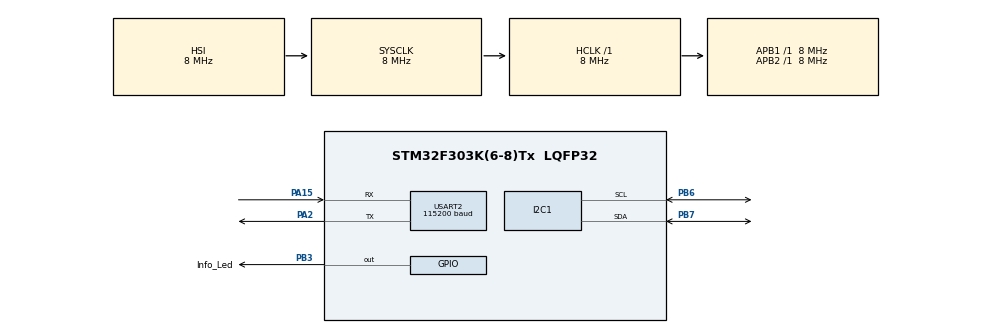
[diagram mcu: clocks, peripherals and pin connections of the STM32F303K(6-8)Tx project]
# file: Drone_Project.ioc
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FREERTOS.BinarySemaphores01=I2C_Semaphore,Dynamic,NULL,Available
FREERTOS.CountingSemaphores01=Samples_Took,1000,Dynamic,NULL,1000
FREERTOS.Tasks01=IMU_Task,0,128,StartIMUTask,Default,NULL,Dynamic,NULL,NULL;Telemetry_Task,0,600,StartTelemetry_Task,Default,NULL,Dynamic,NULL,NULL
FREERTOS.configTOTAL_HEAP_SIZE=5000
FREERTOS.configUSE_COUNTING_SEMAPHORES=1
FREERTOS.configUSE_NEWLIB_REENTRANT=1
I2C1.Timing=0x00201D2B
Mcu.Family=STM32F3
Mcu.Name=STM32F303K(6-8)Tx
Mcu.Package=LQFP32
NVIC.PriorityGroup=NVIC_PRIORITYGROUP_4
NVIC.TIM3_IRQn=true\:15\:0\:false\:false\:true\:false\:false\:true\:true
NVIC.TimeBase=TIM3_IRQn
NVIC.TimeBaseIP=TIM3
PA13.GPIO_Label=SWDIO
PA13.Mode=Serial_Wire
PA13.Signal=SYS_JTMS-SWDIO
PA14.GPIO_Label=SWCLK
PA14.Mode=Serial_Wire
PA14.Signal=SYS_JTCK-SWCLK
PA15.Mode=Asynchronous
PA15.Signal=USART2_RX
PA2.Mode=Asynchronous
PA2.Signal=USART2_TX
PB3.GPIO_Label=Info_Led
PB3.PinState=GPIO_PIN_RESET
PB3.Signal=GPIO_Output
PB6.Mode=I2C
PB6.Signal=I2C1_SCL
PB7.Mode=I2C
PB7.Signal=I2C1_SDA
PF0\ /\ OSC_IN.GPIO_Label=MCO
PF0\ /\ OSC_IN.Mode=HSE-External-Oscillator
PF0\ /\ OSC_IN.Signal=RCC_OSC_IN
PF1\ /\ OSC_OUT.Mode=HSE-External-Oscillator
PF1\ /\ OSC_OUT.Signal=RCC_OSC_OUT
ProjectManager.HeapSize=0x200
ProjectManager.StackSize=0x400
ProjectManager.TargetToolchain=STM32CubeIDE
RCC.AHBFreq_Value=8000000
RCC.APB1Freq_Value=8000000
RCC.APB2Freq_Value=8000000
RCC.CortexFreq_Value=8000000
RCC.HSE_VALUE=8000000
RCC.HSI_VALUE=8000000
RCC.SYSCLKFreq_VALUE=8000000
USART2.BaudRate=115200
USART2.VirtualMode-Asynchronous=VM_ASYNC
VP_FREERTOS_VS_CMSIS_V1.Mode=CMSIS_V1
VP_SYS_VS_tim3.Mode=TIM3
board=NUCLEO-F303K8

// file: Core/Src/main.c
/* USER CODE BEGIN Header */
/**
  ******************************************************************************
  * @file           : main.c
  * @brief          : Main program body
  ******************************************************************************
  * @attention
  *
  * Copyright (c) 2026 STMicroelectronics.
  * All rights reserved.
  *
  * This software is licensed under terms that can be found in the LICENSE file
  * in the root directory of this software component.
  * If no LICENSE file comes with this software, it is provided AS-IS.
  *
  ******************************************************************************
  */
/* USER CODE END Header */
#include "main.h"
#include "cmsis_os.h"

/* USER CODE BEGIN Includes */
#include <stdio.h>

#include "C:\Users\migue\OneDrive\Escritorio\Escritorio\Drone_Project\Drone_Project\Drivers\IMU\IMU.h"
#include "C:\Users\migue\OneDrive\Escritorio\Escritorio\Drone_Project\Drone_Project\Drivers\Attitude\Attitude.h"
/* USER CODE END Includes */

/* USER CODE BEGIN PD */
#define Samples_IMU 1000
/* USER CODE END PD */

I2C_HandleTypeDef hi2c1;

UART_HandleTypeDef huart2;

osThreadId IMU_TaskHandle;
osThreadId Telemetry_TaskHandle;
osSemaphoreId I2C_SemaphoreHandle;
osSemaphoreId Samples_TookHandle;
/* USER CODE BEGIN PV */
IMU_Data_t IMU_Data;
IMU_Error_t IMU_Error;
Attitude_Data_t Attitude_Data;
/* USER CODE END PV */

void SystemClock_Config(void);
static void MX_GPIO_Init(void);
static void MX_I2C1_Init(void);
static void MX_USART2_UART_Init(void);
void StartIMUTask(void const * argument);
void StartTelemetry_Task(void const * argument);

int main(void)
{

  /* MCU Configuration--------------------------------------------------------*/

  /* Reset of all peripherals, Initializes the Flash interface and the Systick. */
  HAL_Init();

  /* Configure the system clock */
  SystemClock_Config();

  /* Initialize all configured peripherals */
  MX_GPIO_Init();
  MX_I2C1_Init();
  MX_USART2_UART_Init();

  /* Create the semaphores(s) */
  /* definition and creation of I2C_Semaphore */
  osSemaphoreDef(I2C_Semaphore);
  I2C_SemaphoreHandle = osSemaphoreCreate(osSemaphore(I2C_Semaphore), 1);

  /* definition and creation of Samples_Took */
  osSemaphoreDef(Samples_Took);
  Samples_TookHandle = osSemaphoreCreate(osSemaphore(Samples_Took), 1000);

  /* Create the thread(s) */
  /* definition and creation of IMU_Task */
  osThreadDef(IMU_Task, StartIMUTask, osPriorityNormal, 0, 128);
  IMU_TaskHandle = osThreadCreate(osThread(IMU_Task), NULL);

  /* definition and creation of Telemetry_Task */
  osThreadDef(Telemetry_Task, StartTelemetry_Task, osPriorityNormal, 0, 600);
  Telemetry_TaskHandle = osThreadCreate(osThread(Telemetry_Task), NULL);

  /* Start scheduler */
  osKernelStart();

  /* We should never get here as control is now taken by the scheduler */

  /* Infinite loop */
  while (1)
  {

  }
}

void SystemClock_Config(void)
{
  RCC_OscInitTypeDef RCC_OscInitStruct = {0};
  RCC_ClkInitTypeDef RCC_ClkInitStruct = {0};
  RCC_PeriphCLKInitTypeDef PeriphClkInit = {0};

  /** Initializes the RCC Oscillators according to the specified parameters
  * in the RCC_OscInitTypeDef structure.
  */
  RCC_OscInitStruct.OscillatorType = RCC_OSCILLATORTYPE_HSI;
  RCC_OscInitStruct.HSIState = RCC_HSI_ON;
  RCC_OscInitStruct.HSICalibrationValue = RCC_HSICALIBRATION_DEFAULT;
  RCC_OscInitStruct.PLL.PLLState = RCC_PLL_NONE;
  if (HAL_RCC_OscConfig(&RCC_OscInitStruct) != HAL_OK)
  {
    Error_Handler();
  }

  /** Initializes the CPU, AHB and APB buses clocks
  */
  RCC_ClkInitStruct.ClockType = RCC_CLOCKTYPE_HCLK|RCC_CLOCKTYPE_SYSCLK
                              |RCC_CLOCKTYPE_PCLK1|RCC_CLOCKTYPE_PCLK2;
  RCC_ClkInitStruct.SYSCLKSource = RCC_SYSCLKSOURCE_HSI;
  RCC_ClkInitStruct.AHBCLKDivider = RCC_SYSCLK_DIV1;
  RCC_ClkInitStruct.APB1CLKDivider = RCC_HCLK_DIV1;
  RCC_ClkInitStruct.APB2CLKDivider = RCC_HCLK_DIV1;

  if (HAL_RCC_ClockConfig(&RCC_ClkInitStruct, FLASH_LATENCY_0) != HAL_OK)
  {
    Error_Handler();
  }
  PeriphClkInit.PeriphClockSelection = RCC_PERIPHCLK_I2C1;
  PeriphClkInit.I2c1ClockSelection = RCC_I2C1CLKSOURCE_HSI;
  if (HAL_RCCEx_PeriphCLKConfig(&PeriphClkInit) != HAL_OK)
  {
    Error_Handler();
  }
}

static void MX_I2C1_Init(void)
{

  hi2c1.Instance = I2C1;
  hi2c1.Init.Timing = 0x00201D2B;
  hi2c1.Init.OwnAddress1 = 0;
  hi2c1.Init.AddressingMode = I2C_ADDRESSINGMODE_7BIT;
  hi2c1.Init.DualAddressMode = I2C_DUALADDRESS_DISABLE;
  hi2c1.Init.OwnAddress2 = 0;
  hi2c1.Init.OwnAddress2Masks = I2C_OA2_NOMASK;
  hi2c1.Init.GeneralCallMode = I2C_GENERALCALL_DISABLE;
  hi2c1.Init.NoStretchMode = I2C_NOSTRETCH_DISABLE;
  if (HAL_I2C_Init(&hi2c1) != HAL_OK)
  {
    Error_Handler();
  }

  /** Configure Analogue filter
  */
  if (HAL_I2CEx_ConfigAnalogFilter(&hi2c1, I2C_ANALOGFILTER_ENABLE) != HAL_OK)
  {
    Error_Handler();
  }

  /** Configure Digital filter
  */
  if (HAL_I2CEx_ConfigDigitalFilter(&hi2c1, 0) != HAL_OK)
  {
    Error_Handler();
  }

}

static void MX_USART2_UART_Init(void)
{

  huart2.Instance = USART2;
  huart2.Init.BaudRate = 115200;
  huart2.Init.WordLength = UART_WORDLENGTH_8B;
  huart2.Init.StopBits = UART_STOPBITS_1;
  huart2.Init.Parity = UART_PARITY_NONE;
  huart2.Init.Mode = UART_MODE_TX_RX;
  huart2.Init.HwFlowCtl = UART_HWCONTROL_NONE;
  huart2.Init.OverSampling = UART_OVERSAMPLING_16;
  huart2.Init.OneBitSampling = UART_ONE_BIT_SAMPLE_DISABLE;
  huart2.AdvancedInit.AdvFeatureInit = UART_ADVFEATURE_NO_INIT;
  if (HAL_UART_Init(&huart2) != HAL_OK)
  {
    Error_Handler();
  }

}

static void MX_GPIO_Init(void)
{
  GPIO_InitTypeDef GPIO_InitStruct = {0};

  /* GPIO Ports Clock Enable */
  __HAL_RCC_GPIOF_CLK_ENABLE();
  __HAL_RCC_GPIOA_CLK_ENABLE();
  __HAL_RCC_GPIOB_CLK_ENABLE();

  /*Configure GPIO pin Output Level */
  HAL_GPIO_WritePin(Info_Led_GPIO_Port, Info_Led_Pin, GPIO_PIN_RESET);

  /*Configure GPIO pin : Info_Led_Pin */
  GPIO_InitStruct.Pin = Info_Led_Pin;
  GPIO_InitStruct.Mode = GPIO_MODE_OUTPUT_PP;
  GPIO_InitStruct.Pull = GPIO_NOPULL;
  GPIO_InitStruct.Speed = GPIO_SPEED_FREQ_LOW;
  HAL_GPIO_Init(Info_Led_GPIO_Port, &GPIO_InitStruct);

}

/* USER CODE BEGIN 4 */
int _write(int file, char *ptr, int len)
{
	HAL_UART_Transmit(&huart2, (uint8_t*)ptr, len, HAL_MAX_DELAY);
	return len;
}

/* USER CODE END 4 */

void StartIMUTask(void const * argument)
{
  /* USER CODE BEGIN 5 */
	IMU_Init();
	Attitude_Init(&Attitude_Data);
	int16_t Increment = 100;
	int16_t Time_Samples = 10;
	IMU_Data_t IMU_Copy;

	  /* Infinite loop */
	for(;;)
	{

		IMU_Read(&IMU_Data, &IMU_Error, &IMU_Copy, Samples_IMU);

		if (uxSemaphoreGetCount (Samples_TookHandle) > 0)
		{
			HAL_GPIO_WritePin(GPIOB, Info_Led_Pin, 1);
			osDelay(Time_Samples);
		}
		else
		{
			Attitude_Change(&IMU_Data, &Attitude_Data, Increment);
			HAL_GPIO_WritePin(GPIOB, Info_Led_Pin, 0);
			osDelay(Increment);

		}

	 }
  /* USER CODE END 5 */
}

void StartTelemetry_Task(void const * argument)
{
  /* USER CODE BEGIN StartTelemetry_Task */
char Mensaje_Activo = 0;

	  /* Infinite loop */
	  for(;;)
	  {
		 if (uxSemaphoreGetCount (Samples_TookHandle) == 0)
		 {
            printf (" | Pitch = %i º | Roll =%i º | Yaw =%i º | \r\n", Attitude_Data.Pitch, Attitude_Data.Roll, Attitude_Data.Yaw);
	     }
		 else if (uxSemaphoreGetCount (Samples_TookHandle) > 995 && Mensaje_Activo == 0)
		 {
			 printf ("Taking Samples.........\r\n");
			 Mensaje_Activo = 1;
		 }
	    osDelay(500);
	  }
  /* USER CODE END StartTelemetry_Task */
}

void HAL_TIM_PeriodElapsedCallback(TIM_HandleTypeDef *htim)
{
  if (htim->Instance == TIM3)
  {
    HAL_IncTick();
  }
}

void Error_Handler(void)
{
  __disable_irq();
  while (1)
  {
  }
}
